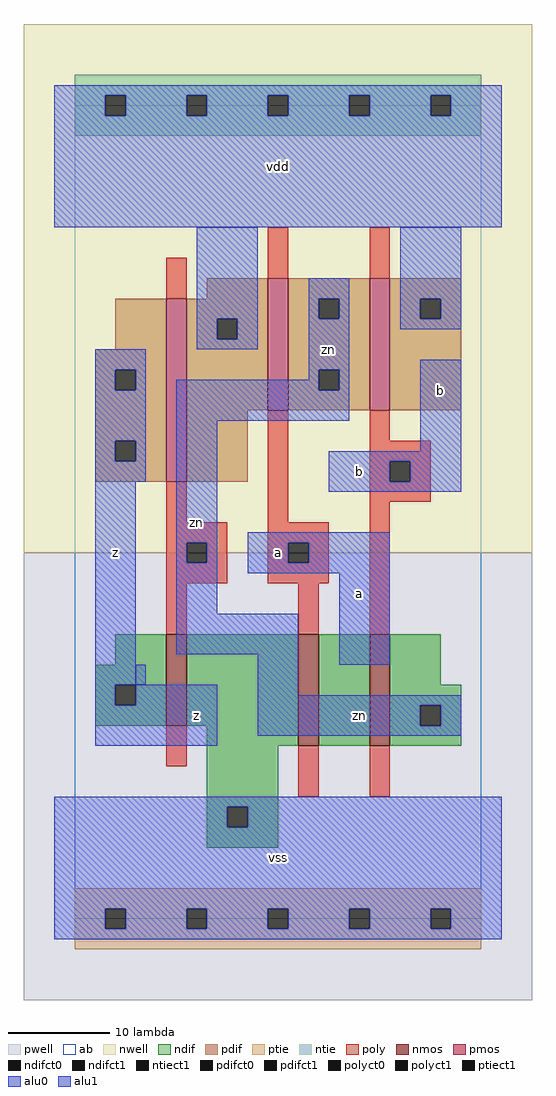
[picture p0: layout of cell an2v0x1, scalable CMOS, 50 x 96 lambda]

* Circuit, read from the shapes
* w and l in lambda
.subckt an2v0x1 a b vdd vss z zn
M1 vss zn z vss nfet w=9 l=2
M2 n1 a vss vss nfet w=11 l=2
M3 zn b n1 vss nfet w=11 l=2
M4 vdd zn z vdd pfet w=18 l=2
M5 zn a vdd vdd pfet w=13 l=2
M6 vdd b zn vdd pfet w=13 l=2
.ends

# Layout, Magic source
magic
tech scmos
<< ab >>
rect 0 0 40 80
<< nwell >>
rect -5 36 45 88
<< pwell >>
rect -5 -8 45 36
<< poly >>
rect 9 61 11 65
rect 19 63 21 68
rect 29 63 31 68
rect 9 39 11 43
rect 19 39 21 50
rect 29 47 31 50
rect 29 45 35 47
rect 29 43 31 45
rect 33 43 35 45
rect 29 41 35 43
rect 9 37 15 39
rect 9 35 11 37
rect 13 35 15 37
rect 9 33 15 35
rect 19 37 25 39
rect 19 35 21 37
rect 23 35 25 37
rect 19 33 25 35
rect 9 28 11 33
rect 22 28 24 33
rect 29 28 31 41
rect 9 15 11 19
rect 22 12 24 17
rect 29 12 31 17
<< ndif >>
rect 4 25 9 28
rect 2 23 9 25
rect 2 21 4 23
rect 6 21 9 23
rect 2 19 9 21
rect 11 19 22 28
rect 13 17 22 19
rect 24 17 29 28
rect 31 23 36 28
rect 31 21 38 23
rect 31 19 34 21
rect 36 19 38 21
rect 31 17 38 19
rect 13 11 20 17
rect 13 9 15 11
rect 17 9 20 11
rect 13 7 20 9
<< pdif >>
rect 13 61 19 63
rect 4 56 9 61
rect 2 54 9 56
rect 2 52 4 54
rect 6 52 9 54
rect 2 47 9 52
rect 2 45 4 47
rect 6 45 9 47
rect 2 43 9 45
rect 11 59 19 61
rect 11 57 14 59
rect 16 57 19 59
rect 11 50 19 57
rect 21 61 29 63
rect 21 59 24 61
rect 26 59 29 61
rect 21 54 29 59
rect 21 52 24 54
rect 26 52 29 54
rect 21 50 29 52
rect 31 61 38 63
rect 31 59 34 61
rect 36 59 38 61
rect 31 50 38 59
rect 11 43 17 50
<< alu1 >>
rect -2 81 42 82
rect -2 79 3 81
rect 5 79 11 81
rect 13 79 19 81
rect 21 79 27 81
rect 29 79 35 81
rect 37 79 42 81
rect -2 68 42 79
rect 2 54 7 56
rect 2 52 4 54
rect 6 52 7 54
rect 2 47 7 52
rect 2 45 4 47
rect 6 45 7 47
rect 2 43 7 45
rect 2 23 6 43
rect 34 46 38 55
rect 25 45 38 46
rect 25 43 31 45
rect 33 43 38 45
rect 25 42 38 43
rect 17 37 31 38
rect 17 35 21 37
rect 23 35 31 37
rect 17 34 31 35
rect 2 21 4 23
rect 6 21 14 23
rect 2 17 14 21
rect 26 25 31 34
rect -2 11 42 12
rect -2 9 15 11
rect 17 9 42 11
rect -2 1 42 9
rect -2 -1 3 1
rect 5 -1 11 1
rect 13 -1 19 1
rect 21 -1 27 1
rect 29 -1 35 1
rect 37 -1 42 1
rect -2 -2 42 -1
<< ptie >>
rect 0 1 40 3
rect 0 -1 3 1
rect 5 -1 11 1
rect 13 -1 19 1
rect 21 -1 27 1
rect 29 -1 35 1
rect 37 -1 40 1
rect 0 -3 40 -1
<< ntie >>
rect 0 81 40 83
rect 0 79 3 81
rect 5 79 11 81
rect 13 79 19 81
rect 21 79 27 81
rect 29 79 35 81
rect 37 79 40 81
rect 0 77 40 79
<< nmos >>
rect 9 19 11 28
rect 22 17 24 28
rect 29 17 31 28
<< pmos >>
rect 9 43 11 61
rect 19 50 21 63
rect 29 50 31 63
<< polyct0 >>
rect 11 35 13 37
<< polyct1 >>
rect 31 43 33 45
rect 21 35 23 37
<< ndifct0 >>
rect 34 19 36 21
<< ndifct1 >>
rect 4 21 6 23
rect 15 9 17 11
<< ntiect1 >>
rect 3 79 5 81
rect 11 79 13 81
rect 19 79 21 81
rect 27 79 29 81
rect 35 79 37 81
<< ptiect1 >>
rect 3 -1 5 1
rect 11 -1 13 1
rect 19 -1 21 1
rect 27 -1 29 1
rect 35 -1 37 1
<< pdifct0 >>
rect 14 57 16 59
rect 24 59 26 61
rect 24 52 26 54
rect 34 59 36 61
<< pdifct1 >>
rect 4 52 6 54
rect 4 45 6 47
<< alu0 >>
rect 12 59 18 68
rect 12 57 14 59
rect 16 57 18 59
rect 12 56 18 57
rect 23 61 27 63
rect 23 59 24 61
rect 26 59 27 61
rect 23 54 27 59
rect 32 61 38 68
rect 32 59 34 61
rect 36 59 38 61
rect 32 58 38 59
rect 23 53 24 54
rect 10 52 24 53
rect 26 52 27 54
rect 10 49 27 52
rect 10 37 14 49
rect 10 35 11 37
rect 13 35 14 37
rect 10 30 14 35
rect 10 26 22 30
rect 6 23 7 25
rect 18 22 22 26
rect 18 21 38 22
rect 18 19 34 21
rect 36 19 38 21
rect 18 18 38 19
<< labels >>
rlabel alu0 12 39 12 39 6 zn
rlabel alu0 25 56 25 56 6 zn
rlabel alu0 28 20 28 20 6 zn
rlabel alu1 4 36 4 36 6 z
rlabel alu1 12 20 12 20 6 z
rlabel alu1 20 6 20 6 6 vss
rlabel alu1 20 36 20 36 6 a
rlabel alu1 28 32 28 32 6 a
rlabel alu1 28 44 28 44 6 b
rlabel alu1 20 74 20 74 6 vdd
rlabel alu1 36 52 36 52 6 b
<< end >>
